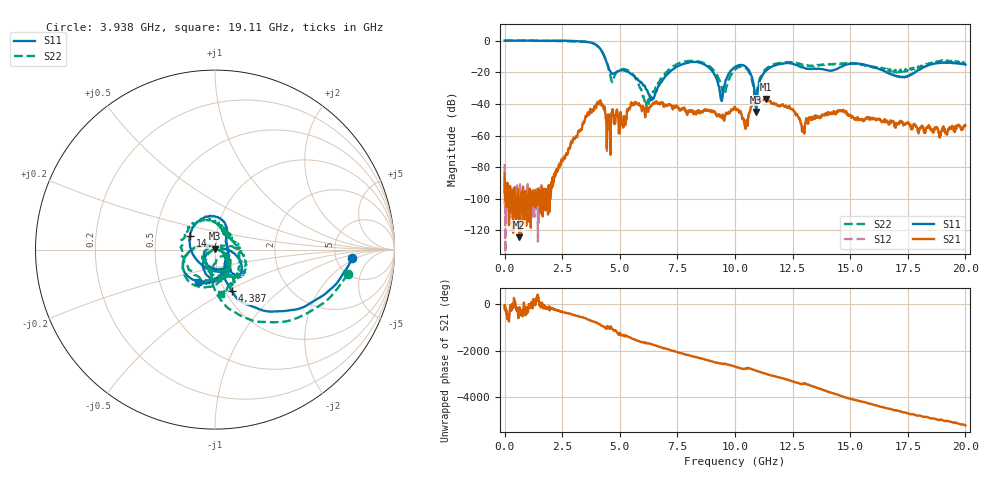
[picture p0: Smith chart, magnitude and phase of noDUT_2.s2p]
#  HZ  S  RI  R  50.00
! Rohde & Schwarz Vector Network Analyzer
! Rohde-Schwarz,ZNB20-2Port,1311601062102128,3.60
! Created: UTC 4/29/2024, 3:49:53 PM
! freq[Hz]  re:S11  im:S11  re:S21  im:S21  re:S12  im:S12  re:S22  im:S22
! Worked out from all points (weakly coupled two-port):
!   2007 points, 100 kHz to 20 GHz, reference 50 ohm
!   highest |S21| = -37.07 dB at 11.33 GHz (marker M1); lowest = -124.2 dB at 638.2 MHz (marker M2)
!   lowest |S11| = -45.2 dB at 10.93 GHz (marker M3), VSWR 1.01, Z = 50.1 + j0.535 ohm
!   |S11| at or under -10 dB: 4.333 GHz to end of sweep
!   |S22| runs from -42.8 to 0.1 dB; largest |S21 - S12| = 0.00077
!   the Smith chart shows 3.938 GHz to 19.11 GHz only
!   S11 on the Smith chart (normalised r, x): 3.938 GHz: 7.18, -1.61; 4.387 GHz: 1.07, -0.53; 14.7 GHz: 0.75, +0.12; 19.11 GHz: 0.78, -0.30
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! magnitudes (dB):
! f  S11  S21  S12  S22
! 100 kHz  0.0  -83.6  -78.0  0.1
! 638.2 MHz  0.0  -124.2  -94.4  0.0
! 2.333 GHz  -0.1  -80.2  -79.4  -0.3
! 3.34 GHz  -0.6  -56.4  -56.1  -0.6
! 3.938 GHz  -2.3  -41.4  -41.0  -2.5
! 4.387 GHz  -12.1  -47.6  -47.5  -11.8
! 4.666 GHz  -20.9  -44.8  -44.8  -25.9
! 5.533 GHz  -21.4  -40.3  -40.2  -21.0
! 6.182 GHz  -31.3  -42.6  -42.6  -42.8
! 6.67 GHz  -28.9  -39.4  -39.5  -26.6
! 8.345 GHz  -13.5  -45.0  -45.0  -13.0
! 9.422 GHz  -38.2  -48.6  -48.5  -29.5
! 10 GHz  -16.7  -42.1  -42.2  -18.4
! 10.47 GHz  -16.5  -54.5  -54.5  -17.3
! 10.93 GHz  -45.2  -38.5  -38.4  -38.0
! 11.33 GHz  -19.3  -37.1  -37.2  -18.1
! 12.94 GHz  -16.9  -56.2  -55.9  -15.5
! 13.34 GHz  -17.9  -48.4  -48.4  -15.8
! 14.7 GHz  -16.0  -43.9  -43.7  -14.3
! 16.67 GHz  -20.7  -53.0  -53.1  -19.4
! 19.11 GHz  -13.8  -56.6  -56.7  -12.0
! 20 GHz  -15.2  -53.8  -53.8  -14.4
